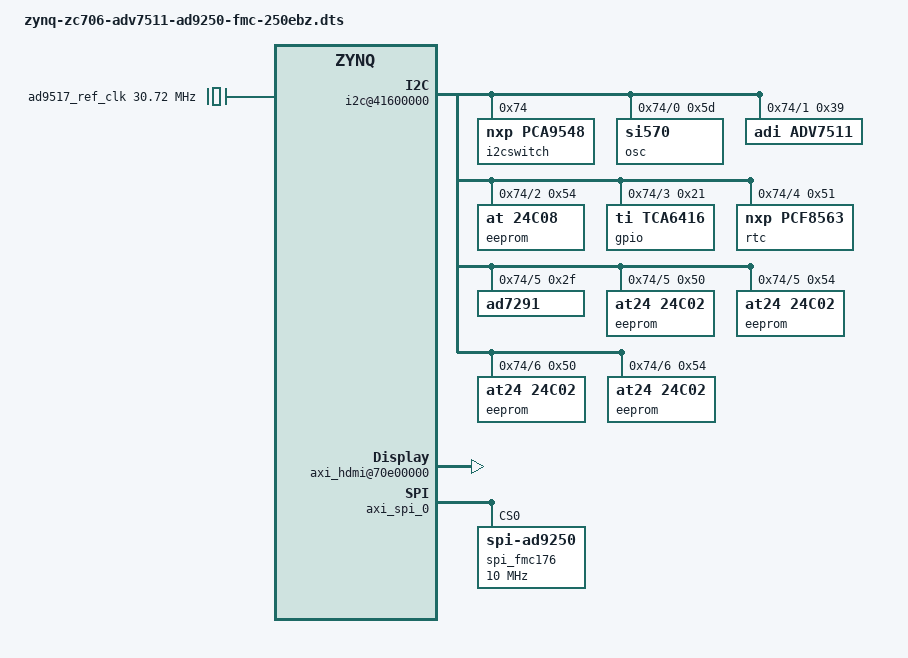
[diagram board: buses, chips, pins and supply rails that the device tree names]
/dts-v1/;

/include/ "zynq-zc706.dtsi"

/ {
	clocks {
		ad9517_ref_clk: clock@0 {
			#clock-cells = <0>;
			compatible = "fixed-clock";
			clock-frequency = <30720000>;
			clock-output-names = "refclk";
		};
		ad9517_clkin: clock@1 {
			#clock-cells = <0>;
			compatible = "fixed-clock";
			clock-frequency = <250000000>;
			clock-output-names = "clkin";
		};
	};

	fpga_axi: fpga-axi@0 {
		compatible = "simple-bus";
		#address-cells = <0x1>;
		#size-cells = <0x1>;
		ranges;

		i2c@41600000 {
			compatible = "xlnx,axi-iic-1.02.a", "xlnx,xps-iic-2.00.a";
			interrupt-parent = <&gic>;
			interrupts = <0 58 4>;
			reg = <0x41600000 0x10000>;
			bus-id = <0>;
			#address-cells = <1>;
			#size-cells = <0>;

			i2cswitch@74 {
				compatible = "nxp,pca9548";
				#address-cells = <1>;
				#size-cells = <0>;
				reg = <0x74>;

				i2c@0 {
					#address-cells = <1>;
					#size-cells = <0>;
					reg = <0>;
					osc@5d {
						compatible = "si570";
						reg = <0x5d>;
						factory-fout = <156250000>;
						initial-fout = <148500000>;
					};
				};

				i2c@1 {
				    #address-cells = <1>;
				    #size-cells = <0>;
				    reg = <1>;

				    adv7511: adv7511 {
						compatible = "adi,adv7511";
						reg = <0x39>;

						adi,input-id = <0x00>;
						adi,input-style = <0x01>;
						adi,bit-justification = <0x00>;
						adi,input-color-depth = <0x3>;
						adi,sync-pulse = <0x03>;
						adi,up-conversion = <0x00>;
						adi,timing-generation-sequence = <0x00>;
						adi,vsync-polarity = <0x02>;
						adi,hsync-polarity = <0x02>;
						adi,tdms-clock-inversion;
						adi,clock-delay = <0x03>;
				    };
				};

				i2c@2 {
					#address-cells = <1>;
					#size-cells = <0>;
					reg = <2>;
					eeprom@54 {
						compatible = "at,24c08";
						reg = <0x54>;
					};
				};

				i2c@3 {
					#address-cells = <1>;
					#size-cells = <0>;
					reg = <3>;
					gpio@21 {
						compatible = "ti,tca6416";
						reg = <0x21>;
						gpio-controller;
						#gpio-cells = <2>;
					};
				};

				i2c@4 {
					#address-cells = <1>;
					#size-cells = <0>;
					reg = <4>;
					rtc@54 {
						compatible = "nxp,pcf8563";
						reg = <0x51>;
					};
				};

				i2c@5 { /* HPC IIC */
					#address-cells = <1>;
					#size-cells = <0>;
					reg = <5>;

					ad7291@2f {
						compatible = "ad7291";
						reg = <0x2f>;
					};

					eeprom@50 {
						compatible = "at24,24c02";
						reg = <0x50>;
					};

					eeprom@54 {
						compatible = "at24,24c02";
						reg = <0x54>;
					};
				};

				i2c@6 { /* LPC IIC */
					#address-cells = <1>;
					#size-cells = <0>;
					reg = <6>;
					eeprom@50 {
						compatible = "at24,24c02";
						reg = <0x50>;
					};

					eeprom@54 {
						compatible = "at24,24c02";
						reg = <0x54>;
					};
				};

			};
		};

		axi_vdma_0: axivdma@43020000 {
			#address-cells = <1>;
			#size-cells = <1>;
			#dma-cells = <1>;
			compatible = "xlnx,axi-vdma";
//			reg = <0x43020000 0x1000>;

			ranges = <0x43040000 0x43040000 0x10000>;
			reg = <0x43040000 0x10000>;

			xlnx,include-sg = <0x0>;
			xlnx,num-fstores = <0x3>;
			dma-channel@43020000 {
				compatible = "xlnx,axi-vdma-mm2s-channel";
				interrupts = <0 59 4>;
				xlnx,datawidth = <0x40>;
				xlnx,genlock-mode = <0x0>;
				xlnx,include-dre = <0x0>;
			};
		};

		hdmi_clock: axi-clkgen@79000000 {
			compatible = "adi,axi-clkgen-2.00.a";
			reg = <0x79060000 0x10000>;
			#clock-cells = <0>;
			clocks = <&clkc 17>;
		};

		axi_hdmi@70e00000 {
			compatible = "adi,axi-hdmi-tx-1.00.a";
			reg = <0x70e00000 0x10000>;
			encoder-slave = <&adv7511>;
			dmas = <&axi_vdma_0 0>;
			dma-names = "video";
			clocks = <&hdmi_clock>;
			adi,is-rgb;
		};

		axi_dma_0: axidma@40420000 {
			#address-cells = <1>;
			#size-cells = <1>;
			#dma-cells = <1>;
			compatible = "xlnx,axi-dma";
			reg = <0x40420000 0x10000>;
//			xlnx,sg-include-stscntrl-strm = <0x0>;
			dma-channel@41e20030 {
				compatible = "xlnx,axi-dma-s2mm-channel";
				interrupt-parent = <&gic>;
				interrupts = <0 57 4>;
				xlnx,datawidth = <0x40>;
				xlnx,include-dre = <0x0>;
			};
		};

		axi_dma_1: axidma@40400000{
			#address-cells = <1>;
			#size-cells = <1>;
			#dma-cells = <1>;
			compatible = "xlnx,axi-dma";
			reg = <0x40400000 0x10000>;
//			xlnx,sg-include-stscntrl-strm = <0x0>;
			dma-channel@41e00030 {
				compatible = "xlnx,axi-dma-s2mm-channel";
				interrupt-parent = <&gic>;
				interrupts = <0 56 4>;
				xlnx,datawidth = <0x40>;
				xlnx,include-dre = <0x0>;
			};
		};

		axi_jesd204b_rx4_0: axi-jesd204b-rx4@6f400000 {
			compatible = "xlnx,axi-jesd204b-rx4-1.00.a";
			reg = <0x6f400000 0x10000>;
			jesd,lanesync_en;
			jesd,scramble_en;
			jesd,frames-per-multiframe = <32>;
			jesd,bytes-per-frame = <2>;
			xlnx,cf-buftype = <0x0>;
			xlnx,dphase-timeout = <0x8>;
			xlnx,family = "zynq";
			xlnx,num-mem = <0x1>;
			xlnx,num-reg = <0x20>;
			xlnx,s-axi-min-size = <0x1ff>;
			xlnx,slv-awidth = <0x20>;
			xlnx,slv-dwidth = <0x20>;
			xlnx,use-wstrb = <0x0>;
			clocks = <&clk_ad9517 0>;
			clock-names = "out0";
		};

		axi_spi_0: spi@42000000 {
			compatible = "xlnx,axi-spi-1.02.a", "xlnx,xps-spi-2.00.a";
			#address-cells = <1>;
			#size-cells = <0>;
			interrupt-parent = <&gic>;
			interrupts = <0 55 4>;
			reg = <0x42000000 0x10000>;
			xlnx,family = "zynq";
			xlnx,fifo-exist = <0x1>;
			xlnx,instance = "axi_spi_0";
			xlnx,num-ss-bits = <0x1>;
			xlnx,num-transfer-bits = <0x8>;
			xlnx,sck-ratio = <0x10>;
			spi_fmc176: spi-fmc176@0 {
				#address-cells = <1>;
				#size-cells = <0>;
				compatible = "spi-ad9250";
				reg = <0>;
				spi-max-frequency = <10000000>;
				clk_ad9517: ad9517@4 {
					#address-cells = <1>;
					#size-cells = <0>;
					#clock-cells = <1>;
					compatible = "ad9517-1";
					reg = <1>;
					spi-max-frequency = <10000000>;
					spi-3wire;
					clocks = <&ad9517_ref_clk>, <&ad9517_clkin>;
					clock-names = "refclk", "clkin";
					clock-output-names = "out0", "out1", "out2", "out3", "out4", "out5", "out6", "out7";

				};
				adc0_ad9250: ad9250@0 {
					#address-cells = <1>;
					#size-cells = <0>;
					compatible = "ad9250";
					reg = <2>;
					spi-max-frequency = <10000000>;
					clocks = <&clk_ad9517 0>;
					clock-names = "out0";

				};
				adc1_ad9250: ad9250@1 {
					#address-cells = <1>;
					#size-cells = <0>;
					compatible = "ad9250";
					reg = <3>;
					spi-max-frequency = <10000000>;
					clocks = <&clk_ad9517 1>;
					clock-names = "out1";

				};
			};
		};

		axi_ad9250_0: cf-ad9250-1@79020000 {
			compatible = "xlnx,axi-ad9250-1.00.a";
			reg = <0x79020000 0x10000>;
			dmas = <&axi_dma_0 0>;
			dma-names = "rx";
			spibus-connected = <&adc0_ad9250>;
			xlnx,dphase-timeout = <0x8>;
			xlnx,family = "zynq";
			xlnx,num-mem = <0x1>;
			xlnx,num-reg = <0x1>;
			xlnx,s-axi-min-size = <0x1ff>;
			xlnx,slv-awidth = <0x20>;
			xlnx,slv-dwidth = <0x20>;
			xlnx,use-wstrb = <0x0>;
		};

		axi_ad9250_1: cf-ad9250-2@79000000 {
			compatible = "xlnx,axi-ad9250-1.00.a";
			reg = <0x79000000 0x10000>;
			dmas = <&axi_dma_1 0>;
			dma-names = "rx";
			spibus-connected = <&adc1_ad9250>;
			xlnx,dphase-timeout = <0x8>;
			xlnx,family = "zynq";
			xlnx,num-mem = <0x1>;
			xlnx,num-reg = <0x1>;
			xlnx,s-axi-min-size = <0x1ff>;
			xlnx,slv-awidth = <0x20>;
			xlnx,slv-dwidth = <0x20>;
			xlnx,use-wstrb = <0x0>;
		};

	};
};
